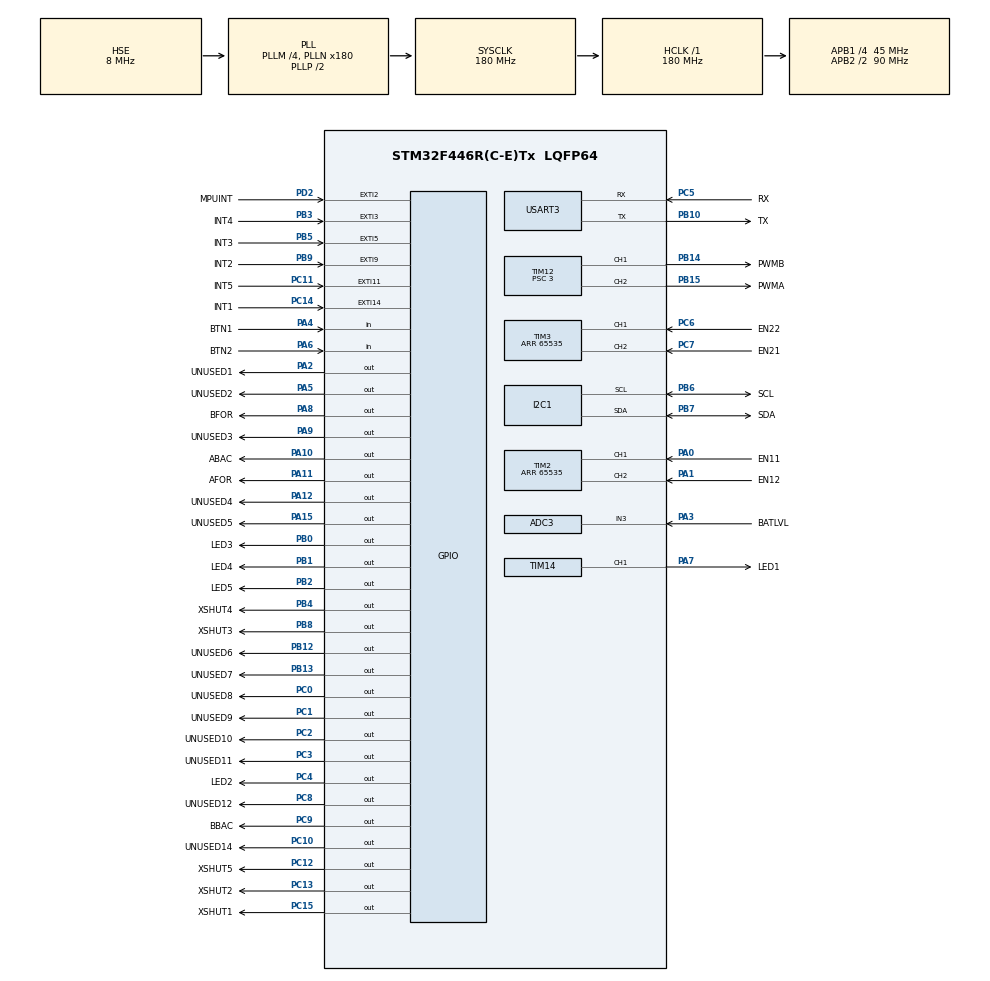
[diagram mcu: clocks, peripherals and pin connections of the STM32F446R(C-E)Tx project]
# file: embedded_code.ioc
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Dma.MEMTOMEM.3.FIFOThreshold=DMA_FIFO_THRESHOLD_FULL
VP_TIM5_VS_ClockSourceINT.Mode=Internal
PH0-OSC_IN.Signal=RCC_OSC_IN
Dma.I2C1_RX.4.PeriphDataAlignment=DMA_PDATAALIGN_BYTE
PC10.GPIO_PuPd=GPIO_PULLDOWN
NVIC.I2C1_EV_IRQn=true\:0\:0\:true\:false\:true\:true\:true
PB10.GPIO_PuPd=GPIO_PULLUP
PB10.Mode=Asynchronous
NVIC.TIM6_DAC_IRQn=true\:0\:0\:false\:false\:true\:true\:true
PC12.Signal=GPIO_Output
PB14.GPIO_Label=PWMB
PA14.GPIO_Label=SWDCK
Dma.USART3_TX.1.PeriphDataAlignment=DMA_PDATAALIGN_BYTE
PC6.GPIO_Label=EN22
PA6.GPIO_Label=BTN2
PB6.GPIO_Label=SCL
Dma.USART3_TX.1.Instance=DMA1_Stream3
PC5.Mode=Asynchronous
PB13.Signal=GPIO_Output
PC15-OSC32_OUT.GPIO_Label=XSHUT1
RCC.SYSCLKSource=RCC_SYSCLKSOURCE_PLLCLK
Dma.I2C1_TX.5.Mode=DMA_NORMAL
Dma.I2C1_RX.4.Direction=DMA_PERIPH_TO_MEMORY
SH.S_TIM14_CH1.0=TIM14_CH1,PWM Generation1 CH1
RCC.APB2TimFreq_Value=180000000
PB6.Signal=I2C1_SCL
VP_TIM10_VS_ClockSourceINT.Mode=Enable_Timer
PC7.Signal=S_TIM3_CH2
PB6.Mode=I2C
PC3.Signal=GPIO_Output
NVIC.EXTI15_10_IRQn=true\:0\:0\:false\:false\:true\:true\:true
PB2.Signal=GPIO_Output
PC1.GPIO_PuPd=GPIO_PULLDOWN
TIM12.Period=999
PB12.GPIO_Label=UNUSED6
SH.S_TIM12_CH1.0=TIM12_CH1,PWM Generation1 CH1
PC4.GPIO_Label=LED2
Dma.I2C1_TX.5.MemDataAlignment=DMA_MDATAALIGN_BYTE
PA5.GPIO_PuPd=GPIO_PULLDOWN
PB1.GPIO_Label=LED4
Dma.ADC3.2.Direction=DMA_PERIPH_TO_MEMORY
PA8.Signal=GPIO_Output
TIM4.Period=19999
Dma.USART3_TX.1.FIFOMode=DMA_FIFOMODE_DISABLE
Dma.USART3_TX.1.Priority=DMA_PRIORITY_VERY_HIGH
TIM9.Prescaler=89
Mcu.Package=LQFP64
PB9.Signal=GPXTI9
PB1.Signal=GPIO_Output
NVIC.TimeBase=TIM1_UP_TIM10_IRQn
ADC3.Rank-0\#ChannelRegularConversion=1
NVIC.TimeBaseIP=TIM1
PA10.Signal=GPIO_Output
PB9.GPIO_PuPd=GPIO_PULLUP
SH.S_TIM12_CH2.0=TIM12_CH2,PWM Generation2 CH2
ADC3.DMAContinuousRequests=ENABLE
RCC.APB2CLKDivider=RCC_HCLK_DIV2
NVIC.EXTI2_IRQn=true\:0\:0\:false\:false\:true\:true\:true
RCC.APB1TimFreq_Value=90000000
VP_TIM14_VS_ClockSourceINT.Mode=Enable_Timer
Dma.USART3_TX.1.PeriphInc=DMA_PINC_DISABLE
PA12.GPIO_PuPd=GPIO_PULLDOWN
NVIC.DMA1_Stream6_IRQn=true\:0\:0\:false\:false\:true\:false\:true
PA4.GPIO_Label=BTN1
TIM9.Period=9999
Dma.USART3_RX.0.Instance=DMA1_Stream1
Dma.I2C1_RX.4.FIFOMode=DMA_FIFOMODE_DISABLE
Dma.USART3_TX.1.MemDataAlignment=DMA_MDATAALIGN_BYTE
PD2.GPIO_PuPd=GPIO_PULLDOWN
TIM2.IC1Filter=15
PA9.GPIO_Label=UNUSED3
PC13.Signal=GPIO_Output
PC6.Signal=S_TIM3_CH1
PC2.Signal=GPIO_Output
PA11.GPIO_Label=AFOR
NVIC.DMA2_Stream1_IRQn=true\:0\:0\:false\:false\:true\:true\:true
PC0.Signal=GPIO_Output
RCC.APB1CLKDivider=RCC_HCLK_DIV4
PC14-OSC32_IN.Signal=GPXTI14
PA0-WKUP.GPIO_Label=EN11
Dma.MEMTOMEM.3.MemBurst=DMA_MBURST_SINGLE
PA0-WKUP.Signal=S_TIM2_CH1_ETR
PB8.GPIO_Label=XSHUT3
PA8.GPIO_Label=BFOR
TIM3.IC2Filter=15
I2C1.I2C_Mode=I2C_Fast
PA9.Signal=GPIO_Output
Dma.ADC3.2.PeriphDataAlignment=DMA_PDATAALIGN_HALFWORD
PB10.Signal=USART3_TX
TIM12.Prescaler=3
PB14.Signal=S_TIM12_CH1
PA5.Signal=GPIO_Output
TIM3.IC1Filter=15
Dma.ADC3.2.Mode=DMA_CIRCULAR
Dma.MEMTOMEM.3.PeriphDataAlignment=DMA_PDATAALIGN_BYTE
TIM13.Period=99
PC14-OSC32_IN.GPIO_ModeDefaultEXTI=GPIO_MODE_IT_FALLING
PB13.GPIO_PuPd=GPIO_PULLDOWN
VP_TIM13_VS_ClockSourceINT.Mode=Enable_Timer
TIM14.Channel=TIM_CHANNEL_1
PB4.GPIO_Label=XSHUT4
PC11.GPIO_ModeDefaultEXTI=GPIO_MODE_IT_FALLING
PB15.GPIO_Label=PWMA
Dma.MEMTOMEM.3.Priority=DMA_PRIORITY_LOW
TIM13.Prescaler=89
PA1.GPIO_Label=EN12
Dma.I2C1_RX.4.Instance=DMA1_Stream0
Dma.I2C1_TX.5.PeriphDataAlignment=DMA_PDATAALIGN_BYTE
PH1-OSC_OUT.GPIO_Label=OSCOUT
TIM2.Period=65535
Dma.I2C1_RX.4.Mode=DMA_NORMAL
PA13.Mode=Serial_Wire
NVIC.TIM1_BRK_TIM9_IRQn=true\:0\:0\:false\:false\:true\:true\:true
TIM14.Prescaler=89
Dma.MEMTOMEM.3.MemInc=DMA_MINC_ENABLE
PC7.GPIO_Label=EN21
PC8.GPIO_PuPd=GPIO_PULLDOWN
PA4.Signal=GPIO_Input
PB5.Signal=GPXTI5
PA5.GPIO_Label=UNUSED2
Dma.ADC3.2.PeriphInc=DMA_PINC_DISABLE
PB5.GPIO_PuPd=GPIO_PULLUP
PC12.GPIO_Label=XSHUT5
PA11.Signal=GPIO_Output
SH.S_TIM2_CH1_ETR.0=TIM2_CH1,Encoder_Interface
ProjectManager.HeapSize=0x200
NVIC.TIM1_UP_TIM10_IRQn=true\:0\:0\:false\:false\:true\:false\:true
NVIC.TIM8_UP_TIM13_IRQn=true\:0\:0\:false\:false\:true\:true\:true
VP_TIM4_VS_ClockSourceINT.Mode=Internal
NVIC.PriorityGroup=NVIC_PRIORITYGROUP_4
PC5.GPIO_Speed=GPIO_SPEED_FREQ_VERY_HIGH
PC3.GPIO_Label=UNUSED11
PC14-OSC32_IN.GPIO_PuPd=GPIO_PULLUP
PD2.Signal=GPXTI2
PB12.GPIO_PuPd=GPIO_PULLDOWN
PB0.Signal=GPIO_Output
PC1.Signal=GPIO_Output
PD2.GPIO_Label=MPUINT
TIM2.IC2Filter=15
Mcu.Family=STM32F4
NVIC.USART3_IRQn=true\:2\:0\:true\:false\:true\:true\:true
PA2.GPIO_PuPd=GPIO_PULLDOWN
Dma.USART3_RX.0.PeriphInc=DMA_PINC_DISABLE
Dma.MEMTOMEM.3.Instance=DMA2_Stream1
RCC.CortexFreq_Value=180000000
Dma.ADC3.2.Instance=DMA2_Stream0
TIM12.Channel-PWM\ Generation2\ CH2=TIM_CHANNEL_2
Dma.USART3_TX.1.MemInc=DMA_MINC_ENABLE
PC10.Signal=GPIO_Output
TIM3.EncoderMode=TIM_ENCODERMODE_TI12
Dma.I2C1_TX.5.FIFOMode=DMA_FIFOMODE_DISABLE
NVIC.EXTI3_IRQn=true\:0\:0\:false\:false\:true\:true\:true
PC0.GPIO_Label=UNUSED8
PB0.GPIO_Label=LED3
TIM2.EncoderMode=TIM_ENCODERMODE_TI12
PB3.GPIO_ModeDefaultEXTI=GPIO_MODE_IT_FALLING
PC13.GPIO_Label=XSHUT2
PB13.GPIO_Label=UNUSED7
PB15.Signal=S_TIM12_CH2
ADC3.Channel-0\#ChannelRegularConversion=ADC_CHANNEL_3
ProjectManager.StackSize=0x400
VP_TIM7_VS_ClockSourceINT.Mode=Enable_Timer
PA15.GPIO_Label=UNUSED5
PC11.GPIO_PuPd=GPIO_PULLUP
PA12.Signal=GPIO_Output
Dma.I2C1_TX.5.Priority=DMA_PRIORITY_LOW
Dma.ADC3.2.Priority=DMA_PRIORITY_LOW
RCC.HCLKFreq_Value=180000000
SH.ADCx_IN3.0=ADC3_IN3,IN3
TIM3.Period=65535
PB9.GPIO_ModeDefaultEXTI=GPIO_MODE_IT_FALLING
TIM7.Period=9999
NVIC.DMA2_Stream0_IRQn=true\:0\:0\:false\:false\:true\:false\:true
RCC.AHBFreq_Value=180000000
PH0-OSC_IN.Mode=HSE-External-Oscillator
PH0-OSC_IN.GPIO_Label=OSCIN
RCC.HSE_VALUE=8000000
Dma.USART3_RX.0.MemDataAlignment=DMA_MDATAALIGN_BYTE
PA4.GPIO_PuPd=GPIO_PULLUP
Dma.USART3_TX.1.Mode=DMA_NORMAL
TIM14.Period=999
Dma.MEMTOMEM.3.Mode=DMA_NORMAL
PA6.GPIO_PuPd=GPIO_PULLUP
PB3.GPIO_PuPd=GPIO_PULLUP
PA14.Mode=Serial_Wire
Dma.I2C1_TX.5.MemInc=DMA_MINC_ENABLE
VP_SYS_VS_tim1.Mode=TIM1
PC11.GPIO_Label=INT5
PA10.GPIO_Label=ABAC
Dma.USART3_RX.0.PeriphDataAlignment=DMA_PDATAALIGN_BYTE
PB7.Signal=I2C1_SDA
Dma.USART3_RX.0.FIFOMode=DMA_FIFOMODE_DISABLE
VP_TIM12_VS_ClockSourceINT.Mode=Internal
SH.S_TIM3_CH1.0=TIM3_CH1,Encoder_Interface
TIM6.Period=999
PH1-OSC_OUT.Mode=HSE-External-Oscillator
PB7.GPIO_Label=SDA
Dma.USART3_RX.0.Direction=DMA_PERIPH_TO_MEMORY
PA6.Signal=GPIO_Input
Dma.I2C1_TX.5.Instance=DMA1_Stream6
PA2.GPIO_Label=UNUSED1
Dma.MEMTOMEM.3.Direction=DMA_MEMORY_TO_MEMORY
PA15.Signal=GPIO_Output
ADC3.ClockPrescaler=ADC_CLOCK_SYNC_PCLK_DIV8
Dma.USART3_RX.0.MemInc=DMA_MINC_ENABLE
Dma.MEMTOMEM.3.PeriphBurst=DMA_PBURST_SINGLE
PB5.GPIO_Label=INT3
Dma.Request2=ADC3
Dma.Request1=USART3_TX
Dma.Request4=I2C1_RX
Dma.Request3=MEMTOMEM
Dma.Request5=I2C1_TX
NVIC.DMA1_Stream0_IRQn=true\:0\:0\:false\:false\:true\:false\:true
PC14-OSC32_IN.GPIO_Label=INT1
PC5.Signal=USART3_RX
PC0.GPIO_PuPd=GPIO_PULLDOWN
Dma.Request0=USART3_RX
PC2.GPIO_Label=UNUSED10
NVIC.TIM7_IRQn=true\:0\:0\:false\:false\:true\:true\:true
PB4.Signal=GPIO_Output
PA3.Signal=ADCx_IN3
PB3.GPIO_Label=INT4
PB5.GPIO_ModeDefaultEXTI=GPIO_MODE_IT_FALLING
Dma.I2C1_TX.5.PeriphInc=DMA_PINC_DISABLE
RCC.PLLSourceVirtual=RCC_PLLSOURCE_HSE
TIM10.Prescaler=89
Dma.I2C1_RX.4.Priority=DMA_PRIORITY_LOW
Dma.ADC3.2.MemDataAlignment=DMA_MDATAALIGN_HALFWORD
TIM3.CounterMode=TIM_COUNTERMODE_UP
TIM2.CounterMode=TIM_COUNTERMODE_UP
PB9.GPIO_Label=INT2
PC10.GPIO_Label=UNUSED14
PC9.GPIO_Label=BBAC
PC11.Signal=GPXTI11
PC8.Signal=GPIO_Output
TIM6.Prescaler=89
PC4.Signal=GPIO_Output
VP_TIM6_VS_ClockSourceINT.Mode=Enable_Timer
NVIC.DMA1_Stream1_IRQn=true\:1\:0\:true\:false\:true\:false\:true
PC5.GPIO_PuPd=GPIO_PULLUP
PA9.GPIO_PuPd=GPIO_PULLDOWN
PA12.GPIO_Label=UNUSED4
Dma.USART3_RX.0.Mode=DMA_NORMAL
PC8.GPIO_Label=UNUSED12
PA13.Signal=SYS_JTMS-SWDIO
Dma.I2C1_RX.4.MemDataAlignment=DMA_MDATAALIGN_BYTE
SH.S_TIM2_CH2.0=TIM2_CH2,Encoder_Interface
ADC3.SamplingTime-0\#ChannelRegularConversion=ADC_SAMPLETIME_15CYCLES
ProjectManager.TargetToolchain=STM32CubeIDE
PB10.GPIO_Label=TX
Dma.I2C1_RX.4.MemInc=DMA_MINC_ENABLE
RCC.USBFreq_Value=180000000
TIM4.Prescaler=89
PC15-OSC32_OUT.Signal=GPIO_Output
PA1.Signal=S_TIM2_CH2
SH.S_TIM3_CH2.0=TIM3_CH2,Encoder_Interface
TIM7.Prescaler=89
board=custom
RCC.VCOOutputFreq_Value=360000000
VP_TIM9_VS_ClockSourceINT.Mode=Internal
TIM10.Period=32999
TIM12.Channel-PWM\ Generation1\ CH1=TIM_CHANNEL_1
RCC.APB2Freq_Value=90000000
PC1.GPIO_Label=UNUSED9
Dma.MEMTOMEM.3.FIFOMode=DMA_FIFOMODE_ENABLE
Dma.I2C1_RX.4.PeriphInc=DMA_PINC_DISABLE
PH1-OSC_OUT.Signal=RCC_OSC_OUT
Dma.ADC3.2.MemInc=DMA_MINC_ENABLE
PC2.GPIO_PuPd=GPIO_PULLDOWN
Dma.MEMTOMEM.3.MemDataAlignment=DMA_MDATAALIGN_BYTE
Mcu.Name=STM32F446R(C-E)Tx
PA2.Signal=GPIO_Output
PA13.GPIO_Label=SWDIO
PB3.Signal=GPXTI3
RCC.SYSCLKFreq_VALUE=180000000
Dma.USART3_RX.0.Priority=DMA_PRIORITY_VERY_HIGH
PA7.GPIO_Label=LED1
TIM5.Prescaler=89
PC5.GPIO_Label=RX
USART3.VirtualMode=VM_ASYNC
PB7.Mode=I2C
NVIC.EXTI9_5_IRQn=true\:0\:0\:false\:false\:true\:true\:true
PA14.Signal=SYS_JTCK-SWCLK
PB2.GPIO_Label=LED5
Dma.USART3_TX.1.Direction=DMA_MEMORY_TO_PERIPH
RCC.PLLM=4
RCC.PLLN=180
PA15.GPIO_PuPd=GPIO_PULLDOWN
PB8.Signal=GPIO_Output
Dma.MEMTOMEM.3.PeriphInc=DMA_PINC_ENABLE
NVIC.DMA1_Stream3_IRQn=true\:1\:0\:true\:false\:true\:false\:true
PC9.Signal=GPIO_Output
NVIC.TIM4_IRQn=true\:0\:0\:false\:false\:true\:true\:true
RCC.APB1Freq_Value=45000000
ADC3.NbrOfConversionFlag=1
Dma.I2C1_TX.5.Direction=DMA_MEMORY_TO_PERIPH
Dma.ADC3.2.FIFOMode=DMA_FIFOMODE_DISABLE
PB12.Signal=GPIO_Output
PC3.GPIO_PuPd=GPIO_PULLDOWN
PA3.GPIO_Label=BATLVL
PA7.Signal=S_TIM14_CH1

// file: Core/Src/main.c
/* USER CODE BEGIN Header */
/**
  ******************************************************************************
  * @file           : main.c
  * @brief          : Main program body
  ******************************************************************************
  * @attention
  *
  * <h2><center>&copy; Copyright (c) 2020 STMicroelectronics.
  * All rights reserved.</center></h2>
  *
  * This software component is licensed by ST under Ultimate Liberty license
  * SLA0044, the "License"; You may not use this file except in compliance with
  * the License. You may obtain a copy of the License at:
  *                             www.st.com/SLA0044
  *
  ******************************************************************************
  */
/* USER CODE END Header */
#include "main.h"
#include "adc.h"
#include "dma.h"
#include "i2c.h"
#include "tim.h"
#include "usart.h"
#include "gpio.h"

/* USER CODE BEGIN Includes */
#include <lowlvl.h>
#include <SYS_access.h>
#include <ADC_access.h>
#include <PWM_access.h>
#include <I2C_access.h>
#include <ENC_access.h>
#include "ukf.h"
#include <pid.h>
#include <slam.h>
#include <algo.h>
/* USER CODE END Includes */

/* USER CODE BEGIN PD */
#define get_acc get_acceleration
#define get_w get_angular_velocity
/* USER CODE END PD */

/* USER CODE BEGIN PV */
int encv1= 0, encv2 = 0;
microMouseState robotState;
uint8_t MAP_READY = 0;
uint8_t MAZE_COMPLETE = 0;
void initMaping() {
    //init variables
    for (int i = 0; i < MAP_SIZE_N; i++)
        for (int j = 0; j < MAP_SIZE_N; j++)
            robotState.flooding[i][j] = 0xff;
    for (int i = 0; i < MAP_SIZE_N; i++)
        for (int j = 0; j < MAP_SIZE_N; j++)
            robotState.mappedArea[i][j] = 0;
    robotState.visited[0] = TRUE;
    for (int i = 1; i <= 0xff; i++)
        robotState.visited[i] = FALSE;
    //next to explore will be initialized after first map
    robotState.step = 0;
    robotState.target = -1;
    robotState.x = 0;
    robotState.y = 0;
    robotState.rotation = 0;
    //actual visit state
    //actual sensors state
    robotState.mazeTypeRightHanded = -1;
    robotState.nodeFound = FALSE;
    robotState.pathReturn = FALSE;
    robotState.mapIsFinished = FALSE;
}

void clock_timer_start_point(){
	__HAL_TIM_SET_COUNTER(&htim5,0);
}
uint32_t clock_timer_end_point(){
	return __HAL_TIM_GET_COUNTER(&htim5);
}
/* USER CODE END PV */

void SystemClock_Config(void);
/* USER CODE BEGIN PFP */
extern float reference_omega;
extern float reference_velocity;
extern int request2savedata;
/* USER CODE END PFP */

int main(void)
{

  /* MCU Configuration--------------------------------------------------------*/

  /* Reset of all peripherals, Initializes the Flash interface and the Systick. */
  HAL_Init();

  /* Configure the system clock */
  SystemClock_Config();

  /* Initialize all configured peripherals */
  MX_GPIO_Init();
  MX_DMA_Init();
  MX_ADC3_Init();
  MX_I2C1_Init();
  MX_TIM2_Init();
  MX_TIM3_Init();
  MX_TIM12_Init();
  MX_USART3_UART_Init();
  MX_TIM14_Init();
  MX_TIM6_Init();
  MX_TIM7_Init();
  MX_TIM4_Init();
  MX_TIM5_Init();
  MX_TIM9_Init();
  MX_TIM10_Init();
  MX_TIM13_Init();
  /* USER CODE BEGIN 2 */
  kalman_init();
  lowlvl_init();
  initMaping();
  reference_omega = 0;
  reference_velocity = 0;
  startSystem();
  /* USER CODE END 2 */

  /* Infinite loop */
  while (1)
  {

    /* USER CODE BEGIN 3 */
	  // FIXME some test code
//	  if(BTN_IsPressed(1))
//	  {
//		  if(reference_omega < 10*PI)reference_omega += 1;
//		  else __NOP();
//	  }
//	  else if(BTN_IsPressed(2))
//	  {
//		  if(reference_omega > -10*PI)reference_omega -= 1;
//		  else __NOP();
//	  }
	  if(BTN_IsPressed(1))
	  {
		  if(reference_velocity < 1000)reference_velocity += 10;
		  else __NOP();
	  }
//	  else if(BTN_IsPressed(2))
//	  {
//		  if(reference_velocity > -1000)reference_velocity -= 10;
//		  else __NOP();
//	  }
	  else if(BTN_IsPressed(2))
	  {
		  if(reference_omega < 10*PI)reference_omega += 1;
		  else __NOP();
	  }
//	  battery_task();
	  //set_velocity(1,-reference_velocity);
	  //set_velocity(2,reference_velocity);
	  HAL_Delay(100);
	  switch(request2savedata)
	  {
	  	  case 1:
	  		  request2savedata = 0;
	  		  eepromSave4Bytes(&vp_addr, &vp_data);
	  		  eepromSave4Bytes(&vi_addr, &vi_data);
	  		  eepromSave4Bytes(&vd_addr, &vd_data);
	  		  printf("Parameters of PID I(v) updated\n");
	  		  break;
	  	  case 2:
	  		  request2savedata = 0;
			  eepromSave4Bytes(&wp_addr, &wp_data);
		      eepromSave4Bytes(&wi_addr, &wi_data);
			  eepromSave4Bytes(&wd_addr, &wd_data);
			  printf("Parameters of PID II(w) updated\n");
	  		  break;
	  	  default:
	  		  request2savedata = 0;
	  }
  }
  /* USER CODE END 3 */
}

void SystemClock_Config(void)
{
  RCC_OscInitTypeDef RCC_OscInitStruct = {0};
  RCC_ClkInitTypeDef RCC_ClkInitStruct = {0};

  /** Configure the main internal regulator output voltage
  */
  __HAL_RCC_PWR_CLK_ENABLE();
  __HAL_PWR_VOLTAGESCALING_CONFIG(PWR_REGULATOR_VOLTAGE_SCALE1);
  /** Initializes the RCC Oscillators according to the specified parameters
  * in the RCC_OscInitTypeDef structure.
  */
  RCC_OscInitStruct.OscillatorType = RCC_OSCILLATORTYPE_HSE;
  RCC_OscInitStruct.HSEState = RCC_HSE_ON;
  RCC_OscInitStruct.PLL.PLLState = RCC_PLL_ON;
  RCC_OscInitStruct.PLL.PLLSource = RCC_PLLSOURCE_HSE;
  RCC_OscInitStruct.PLL.PLLM = 4;
  RCC_OscInitStruct.PLL.PLLN = 180;
  RCC_OscInitStruct.PLL.PLLP = RCC_PLLP_DIV2;
  RCC_OscInitStruct.PLL.PLLQ = 2;
  RCC_OscInitStruct.PLL.PLLR = 2;
  if (HAL_RCC_OscConfig(&RCC_OscInitStruct) != HAL_OK)
  {
    Error_Handler();
  }
  /** Activate the Over-Drive mode
  */
  if (HAL_PWREx_EnableOverDrive() != HAL_OK)
  {
    Error_Handler();
  }
  /** Initializes the CPU, AHB and APB buses clocks
  */
  RCC_ClkInitStruct.ClockType = RCC_CLOCKTYPE_HCLK|RCC_CLOCKTYPE_SYSCLK
                              |RCC_CLOCKTYPE_PCLK1|RCC_CLOCKTYPE_PCLK2;
  RCC_ClkInitStruct.SYSCLKSource = RCC_SYSCLKSOURCE_PLLCLK;
  RCC_ClkInitStruct.AHBCLKDivider = RCC_SYSCLK_DIV1;
  RCC_ClkInitStruct.APB1CLKDivider = RCC_HCLK_DIV4;
  RCC_ClkInitStruct.APB2CLKDivider = RCC_HCLK_DIV2;

  if (HAL_RCC_ClockConfig(&RCC_ClkInitStruct, FLASH_LATENCY_5) != HAL_OK)
  {
    Error_Handler();
  }
}

/* USER CODE BEGIN 4 */
int tim4_period_counter = 0;
extern int copy_status;
extern int mpu_is_initialized;
int mpuint_soft = TRUE;
int debug_flag = TRUE;
/* USER CODE END 4 */

 /**
  * @brief  Period elapsed callback in non blocking mode
  * @note   This function is called  when TIM1 interrupt took place, inside
  * HAL_TIM_IRQHandler(). It makes a direct call to HAL_IncTick() to increment
  * a global variable "uwTick" used as application time base.
  * @param  htim : TIM handle
  * @retval None
  */
void HAL_TIM_PeriodElapsedCallback(TIM_HandleTypeDef *htim)
{
  if (htim->Instance == TIM1) {
    HAL_IncTick();
  }
  /* USER CODE BEGIN Callback 1 */
  else if (htim->Instance == TIM4) {
	  tim4_period_counter = (tim4_period_counter + 1) % 2;
	  if(tim4_period_counter)
		  uart_rx();
	  else uart_tx();
  }
  else if (htim->Instance == TIM6) {
          if (mpu_is_initialized) {
              mpuint_soft = !mpuint_soft;//
              // frequency 0.5kHz INT
              if (mpuint_soft&&debug_flag)MPUInterruptHandler();
          }
      }
  else if(htim->Instance == TIM7) {
	  if(!copy_status)kalman_filter();
  }else if(htim->Instance == TIM9) {
	  //performEncodersMeasurements();
	  pid_global();
  }else if(htim->Instance == TIM10) {
	  slam_walls_detection();
  }else if(htim->Instance == TIM13)
  {
	  static int bat_watch_cnt = 1;
	  // frequency 1kHz PWM
	  if(bat_watch_cnt == 0)
		  battery_task();
	  else
		  __NOP();
	  generateLEDPWMCallback();
	  bat_watch_cnt = (bat_watch_cnt + 1) % 1000;
  }
  /* USER CODE END Callback 1 */
}

void Error_Handler(void)
{
  /* USER CODE BEGIN Error_Handler_Debug */
  /* User can add his own implementation to report the HAL error return state */
	while(1){
		ledToggle(1);
		HAL_Delay(500);
	}
  /* USER CODE END Error_Handler_Debug */
}

/************************ (C) COPYRIGHT STMicroelectronics *****END OF FILE****/
